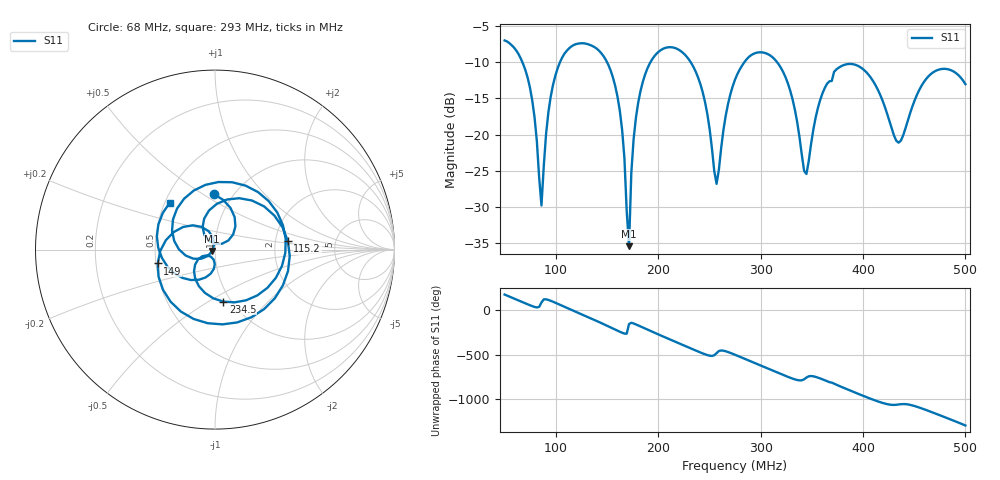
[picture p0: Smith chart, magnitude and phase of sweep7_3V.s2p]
!Agilent Technologies,E8364B,US42250162,A.07.50.67
!Agilent E8364B: A.07.50.67
!Date: Friday, June 23, 2023 16:18:22
!Correction: S11(Off)
!S21(Off)
!S12(Off)
!S22(Off)
!S2P File: Measurements: S11, S21, S12, S22:
# Hz S  RI  R 50
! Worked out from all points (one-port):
!   201 points, 50 MHz to 500 MHz, reference 50 ohm
!   lowest |S11| = -35.5 dB at 171.5 MHz (marker M1), VSWR 1.03, Z = 48.5 - j0.733 ohm
!   |S11| at or under -10 dB: 150.2 MHz to 192.3 MHz (42.15 MHz wide, 24.6 % of centre); 231.9 MHz to 284 MHz (52.05 MHz wide, 20.2 % of centre); 316.3 MHz to end of sweep (the widest 3 of 4)
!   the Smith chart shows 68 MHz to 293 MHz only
!   S11 on the Smith chart (normalised r, x): 68 MHz: 0.81, +0.56; 115.2 MHz: 2.35, +0.26; 149 MHz: 0.51, -0.09; 234.5 MHz: 0.92, -0.58; 293 MHz: 0.53, +0.32
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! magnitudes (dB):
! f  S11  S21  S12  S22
! 50 MHz  -6.9  -  -  -
! 68 MHz  -10.2  -  -  -
! 86 MHz  -29.8  -  -  -
! 95 MHz  -14.8  -  -  -
! 115.2 MHz  -7.8  -  -  -
! 126.5 MHz  -7.3  -  -  -
! 149 MHz  -9.7  -  -  -
! 162.5 MHz  -16.7  -  -  -
! 171.5 MHz  -35.5  -  -  -
! 173.8 MHz  -25.3  -  -  -
! 180.5 MHz  -15.5  -  -  -
! 200.8 MHz  -8.5  -  -  -
! 234.5 MHz  -10.6  -  -  -
! 257 MHz  -26.8  -  -  -
! 275 MHz  -12.4  -  -  -
! 293 MHz  -8.8  -  -  -
! 324.5 MHz  -12.1  -  -  -
! 344.8 MHz  -25.5  -  -  -
! 351.5 MHz  -19.3  -  -  -
! 385.2 MHz  -10.2  -  -  -
! 425.8 MHz  -18.1  -  -  -
! 500 MHz  -13.0  -  -  -
